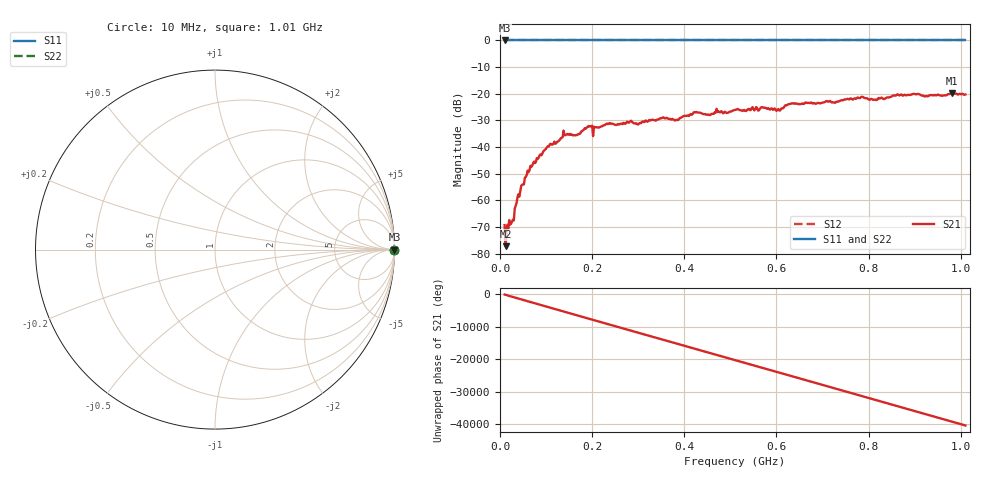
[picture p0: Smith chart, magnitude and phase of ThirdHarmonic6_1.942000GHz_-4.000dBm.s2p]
! 8/16/2025 11:23:26 PM
! C:\ANRITSUVNA\TEMP\TEMP.S2P
! CHANNEL.1
! TR.MEASUREMENT
! RAW.DATA
! RF.CORRECTION.OFF
! AVERAGING.OFF
! IF.BANDWIDTH: 5KHZ
! SWEEPTYPE:  FREQ.SWEEP(Linear)
! Reference Plane Port Info
! PORT:  PORT1  PORT2
! DISTANCE:  0  m  0  m
! TIME:  0  s  0  s
! PHASE.OFFSET:  0  deg.  0  deg.
! LOSS:  0  dB  0  dB
! REF.LOSS:  0  dB  0  dB
! REF.FREQ:  0  Hz  0  Hz
! Power Info
! POWER:  -20  dBm  -20  dBm
! EFF.POWER:  -20  dBm  -20  dBm
! SOURCE.ATTEN:  0  dB  0  dB
! TEST.ATTEN:  0  dB  0  dB
# GHZ S RI R 50.0
! FREQ.GHZ  S11RE  S11IM  S21RE  S21IM  S12RE  S12IM  S22RE  S22IM
!; PortSelection: Port_12
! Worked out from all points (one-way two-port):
!   501 points, 10 MHz to 1.01 GHz, reference 50 ohm
!   highest |S21| = -19.81 dB at 980 MHz (marker M1); lowest = -77.1 dB at 12 MHz (marker M2)
!   lowest |S11| = 0.0 dB at 10 MHz (marker M3)
!   |S11| at or under -10 dB: nowhere
!   |S22| runs from 0.0 to 0.0 dB; largest |S21 - S12| = 1.1
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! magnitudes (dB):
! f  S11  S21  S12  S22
! 10 MHz  0.0  -69.2  0.0  0.0
! 12 MHz  0.0  -77.1  0.0  0.0
! 26 MHz  0.0  -68.0  0.0  0.0
! 42 MHz  0.0  -58.6  0.0  0.0
! 70 MHz  0.0  -46.9  0.0  0.0
! 106 MHz  0.0  -39.7  0.0  0.0
! 142 MHz  0.0  -35.5  0.0  0.0
! 178 MHz  0.0  -34.1  0.0  0.0
! 196 MHz  0.0  -32.2  0.0  0.0
! 206 MHz  0.0  -32.5  0.0  0.0
! 234 MHz  0.0  -31.4  0.0  0.0
! 344 MHz  0.0  -29.6  0.0  0.0
! 382 MHz  0.0  -29.8  0.0  0.0
! 424 MHz  0.0  -27.0  0.0  0.0
! 452 MHz  0.0  -27.8  0.0  0.0
! 510 MHz  0.0  -26.0  0.0  0.0
! 604 MHz  0.0  -25.7  0.0  0.0
! 630 MHz  0.0  -23.7  0.0  0.0
! 678 MHz  0.0  -23.6  0.0  0.0
! 844 MHz  0.0  -21.4  0.0  0.0
! 980 MHz  0.0  -19.8  0.0  0.0
! 1.01 GHz  0.0  -20.3  0.0  0.0
